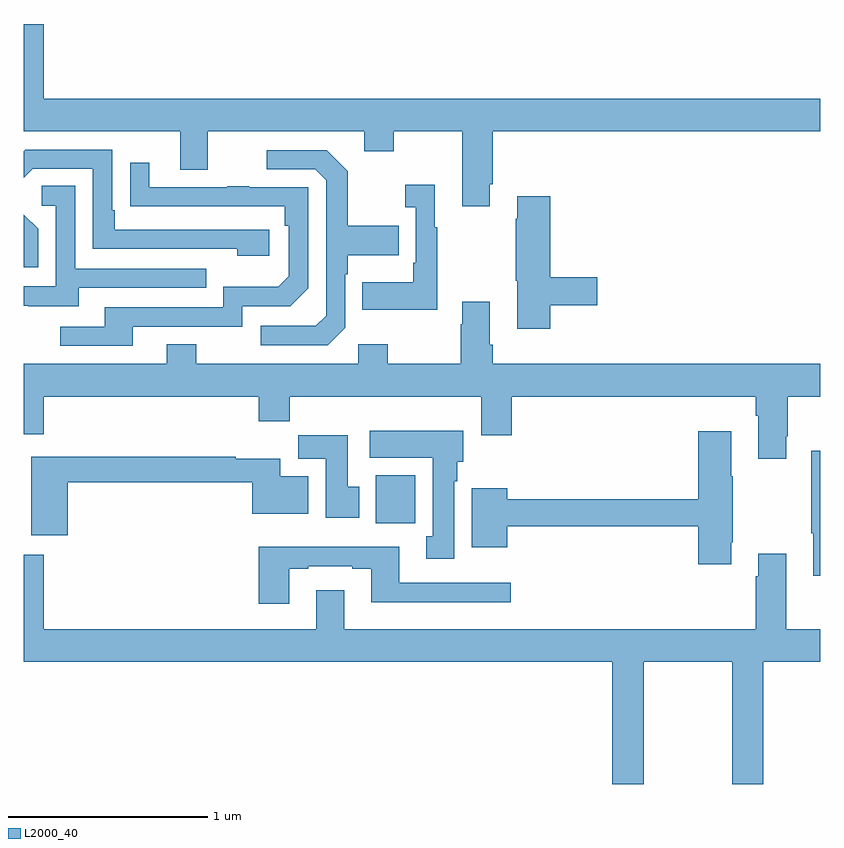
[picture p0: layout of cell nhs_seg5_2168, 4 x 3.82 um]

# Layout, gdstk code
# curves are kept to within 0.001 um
import gdstk
lib = gdstk.Library(unit=1e-6, precision=1e-09)
def R(c, l, rs):  # rectangles x0, y0, x1, y1
    for r in rs: c.add(gdstk.rectangle(r[:2], r[2:], *l))
def P(c, l, *ps):  # polygons
    for p in ps: c.add(gdstk.Polygon(p, *l))
L2000_40 = (2000, 40)

nhs_seg5_2168 = lib.new_cell('nhs_seg5_2168')
R(nhs_seg5_2168, L2000_40, [(238.769,872.108,238.966,872.35)])
P(nhs_seg5_2168, L2000_40, [(239.341,873.811),(239.354,873.811),(239.354,874.076),(241,874.076),(241,874.24),(237.1,874.24),(237.1,874.615),(237,874.615),(237,874.076),(237.785,874.076),(237.785,873.882),(237.925,873.882),(237.925,874.076),(238.709,874.076),(238.709,873.977),(238.857,873.977),(238.857,874.076),(239.201,874.076),(239.201,873.699),(239.341,873.699)],
  [(238.234,873.582),(237.457,873.582),(237.457,873.679),(237.444,873.679),(237.444,873.984),(237.009,873.984),(237,873.975),(237,873.843),(237.045,873.888),(237.348,873.888),(237.348,873.486),(238.073,873.486),(238.073,873.452),(238.234,873.452)],
  [(238.614,873.09),(238.614,873.359),(238.627,873.359),(238.627,873.455),(238.883,873.455),(238.883,873.603),(238.627,873.603),(238.627,873.875),(238.521,873.981),(238.221,873.981),(238.221,873.885),(238.464,873.885),(238.518,873.831),(238.518,873.15),(238.467,873.099),(238.191,873.099),(238.191,873.003),(238.527,873.003)],
  [(237.547,873.096),(238.098,873.096),(238.098,873.198),(238.338,873.198),(238.428,873.288),(238.428,873.795),(238.133,873.795),(238.133,873.8),(238.021,873.8),(238.021,873.795),(237.631,873.795),(237.631,873.919),(237.535,873.919),(237.535,873.7),(238.312,873.699),(238.312,873.602),(238.332,873.602),(238.332,873.348),(238.279,873.295),(238.002,873.295),(238.002,873.192),(237.407,873.192),(237.407,873.096),(237.183,873.096),(237.183,873),(237.547,873)],
  [(239.077,873.595),(239.065,873.595),(239.065,873.808),(238.917,873.808),(238.917,873.695),(238.968,873.695),(238.968,873.415),(238.956,873.415),(238.956,873.319),(238.699,873.319),(238.699,873.179),(239.077,873.179)],
  [(237.277,873.291),(237.917,873.291),(237.917,873.387),(237.258,873.387),(237.258,873.803),(237.09,873.803),(237.09,873.702),(237.162,873.702),(237.162,873.297),(237,873.297),(237,873.201),(237.023,873.201),(237.023,873.197),(237.277,873.197)],
  [(239.645,873.202),(239.881,873.202),(239.881,873.344),(239.645,873.344),(239.645,873.751),(239.477,873.751),(239.477,873.638),(239.47,873.638),(239.47,873.327),(239.477,873.327),(239.477,873.084),(239.645,873.084)],
  [(237.072,873.586),(237,873.658),(237,873.393),(237.072,873.393)],
  [(240.829,872.545),(240.837,872.545),(240.837,872.744),(241,872.744),(241,872.908),(239.354,872.908),(239.354,873.004),(239.341,873.004),(239.341,873.22),(239.201,873.22),(239.201,873.107),(239.194,873.107),(239.194,872.908),(238.827,872.908),(238.827,873.007),(238.68,873.007),(238.68,872.908),(237.867,872.908),(237.867,873.007),(237.719,873.007),(237.719,872.908),(237,872.908),(237,872.556),(237.1,872.556),(237.1,872.744),(238.181,872.744),(238.181,872.62),(238.337,872.62),(238.337,872.744),(239.297,872.744),(239.297,872.55),(239.45,872.55),(239.45,872.744),(240.677,872.744),(240.677,872.648),(240.689,872.648),(240.689,872.433),(240.829,872.433)],
  [(239.161,872.318),(239.176,872.318),(239.176,872.418),(239.206,872.418),(239.206,872.572),(238.737,872.572),(238.737,872.438),(239.054,872.438),(239.054,872.042),(239.021,872.042),(239.021,871.929),(239.161,871.929)],
  [(240.553,872.014),(240.561,872.014),(240.561,872.345),(240.553,872.345),(240.553,872.569),(240.386,872.569),(240.386,872.228),(239.428,872.228),(239.428,872.284),(239.249,872.284),(239.249,871.988),(239.428,871.988),(239.428,872.092),(240.386,872.092),(240.386,871.902),(240.553,871.902)],
  [(238.684,872.292),(238.627,872.292),(238.627,872.551),(238.378,872.551),(238.378,872.432),(238.517,872.432),(238.517,872.136),(238.684,872.136)],
  [(241,872.473),(240.954,872.473),(240.954,872.057),(240.965,872.057),(240.965,871.845),(241,871.845)],
  [(237.221,872.314),(238.148,872.314),(238.148,872.156),(238.429,872.156),(238.429,872.344),(238.288,872.344),(238.288,872.432),(238.064,872.432),(238.064,872.443),(237.038,872.443),(237.038,872.049),(237.221,872.049)],
  [(238.333,871.881),(238.429,871.881),(238.429,871.893),(238.649,871.893),(238.649,871.881),(238.745,871.881),(238.745,871.712),(239.446,871.712),(239.446,871.809),(238.885,871.809),(238.885,871.99),(238.181,871.99),(238.181,871.704),(238.333,871.704)],
  [(238.609,871.771),(238.469,871.771),(238.469,871.576),(237.1,871.576),(237.1,871.951),(237,871.951),(237,871.412),(239.954,871.412),(239.954,870.799),(240.114,870.799),(240.114,871.412),(240.559,871.412),(240.559,870.799),(240.714,870.799),(240.714,871.412),(241,871.412),(241,871.576),(240.829,871.576),(240.829,871.954),(240.689,871.954),(240.689,871.841),(240.677,871.841),(240.677,871.576),(238.609,871.576)])

lib.write_gds('nhs_seg5_2168.gds')
